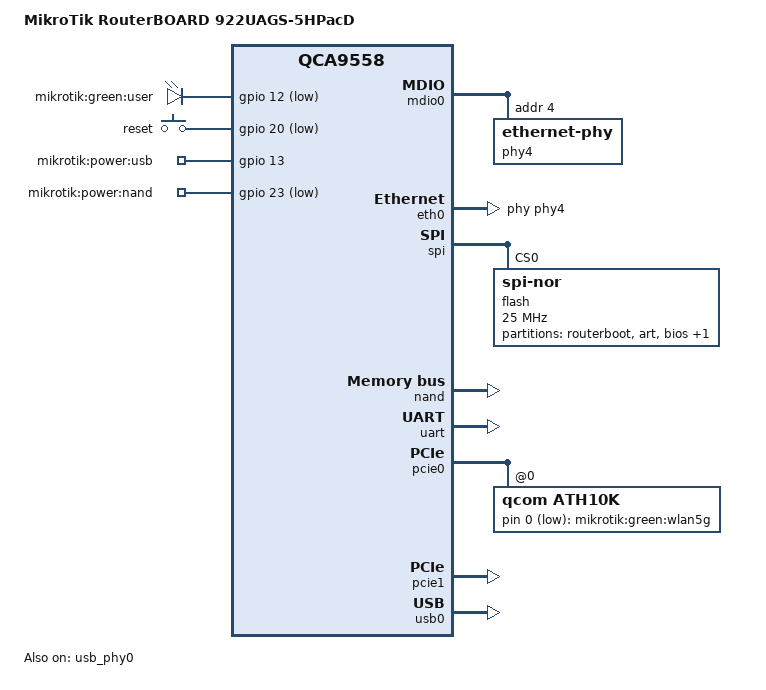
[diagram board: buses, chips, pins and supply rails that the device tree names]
// SPDX-License-Identifier: GPL-2.0-or-later OR MIT
/dts-v1/;

#include <dt-bindings/gpio/gpio.h>
#include <dt-bindings/input/input.h>

#include "qca9557.dtsi"

/ {
	compatible = "mikrotik,routerboard-922uags-5hpacd", "qca,qca9558";
	model = "MikroTik RouterBOARD 922UAGS-5HPacD";

	aliases {
		label-mac-device = &eth0;
		led-boot = &led_user;
		led-failsafe = &led_user;
		led-upgrade = &led_user;
		serial0 = &uart;
	};

	chosen {
		bootargs = "console=ttyS0,115200n8";
	};

	leds {
		compatible = "gpio-leds";

		led_user: user {
			label = "mikrotik:green:user";
			gpios = <&gpio 12 GPIO_ACTIVE_LOW>;
		};
	};

	ath10k-leds {
		compatible = "gpio-leds";

		wlan5g {
			label = "mikrotik:green:wlan5g";
			gpios = <&ath10k 0 GPIO_ACTIVE_LOW>;
			linux,default-trigger = "phy0tpt";
		};
	};

	keys {
		compatible = "gpio-keys";

		reset {
			label = "reset";
			linux,code = <KEY_RESTART>;
			gpios = <&gpio 20 GPIO_ACTIVE_LOW>;
			debounce-interval = <60>;
		};
	};

	gpio-export {
		compatible = "gpio-export";

		gpio_usb_power {
			gpio-export,name = "mikrotik:power:usb";
			gpio-export,output = <0>;
			gpios = <&gpio 13 GPIO_ACTIVE_HIGH>;
		};

		gpio_nand_power {
			gpio-export,name = "mikrotik:power:nand";
			gpio-export,output = <0>;
			gpios = <&gpio 23 GPIO_ACTIVE_LOW>;
		};
	};
};

&mdio0 {
	status = "okay";

	phy4: ethernet-phy@4 {
		reg = <4>;
	};
};

&eth0 {
	status = "okay";

	mtd-mac-address = <&art 0x10>;
	phy-handle = <&phy4>;
	pll-data = <0x8f000000 0xa0000101 0xa0001313>;

	gmac-config {
		device = <&gmac>;
		rgmii-enabled = <1>;
	};
};

&spi {
	status = "okay";

	flash@0 {
		compatible = "jedec,spi-nor";
		reg = <0>;
		spi-max-frequency = <25000000>;

		partitions {
			compatible = "fixed-partitions";
			#address-cells = <1>;
			#size-cells = <1>;

			partition@0 {
				label = "routerboot";
				reg = <0x0000000 0x000c000>;
				read-only;
			};

			art: partition@c000 {
				label = "art";
				reg = <0x000c000 0x0001000>;
				read-only;
			};

			partition@d000 {
				label = "bios";
				reg = <0x000d000 0x0001000>;
				read-only;
			};

			partition@e000 {
				label = "soft_config";
				reg = <0x000e000 0x0001000>;
				read-only;
			};
		};
	};
};

&nand {
	status = "okay";

	nand-ecc-mode = "soft";
	qca,nand-swap-dma;
	qca,nand-scan-fixup;

	partitions {
		compatible = "fixed-partitions";
		#size-cells = <1>;

		partition@0 {
			label = "booter";
			reg = <0x0000000 0x0040000>;
			read-only;
		};

		partition@40000 {
			label = "kernel";
			reg = <0x0040000 0x03c0000>;
		};

		partition@400000 {
			label = "ubi";
			reg = <0x0400000 0x7c00000>;
		};
	};
};

&uart {
	status = "okay";
};

&pcie0 {
	status = "okay";

	ath10k: wifi@0,0 {
		compatible = "qcom,ath10k";
		reg = <0 0 0 0 0>;
		#gpio-cells = <2>;
		gpio-controller;
	};
};

&pcie1 {
	status = "okay";
};

&usb0 {
	status = "okay";
};

&usb_phy0 {
	status = "okay";
};
